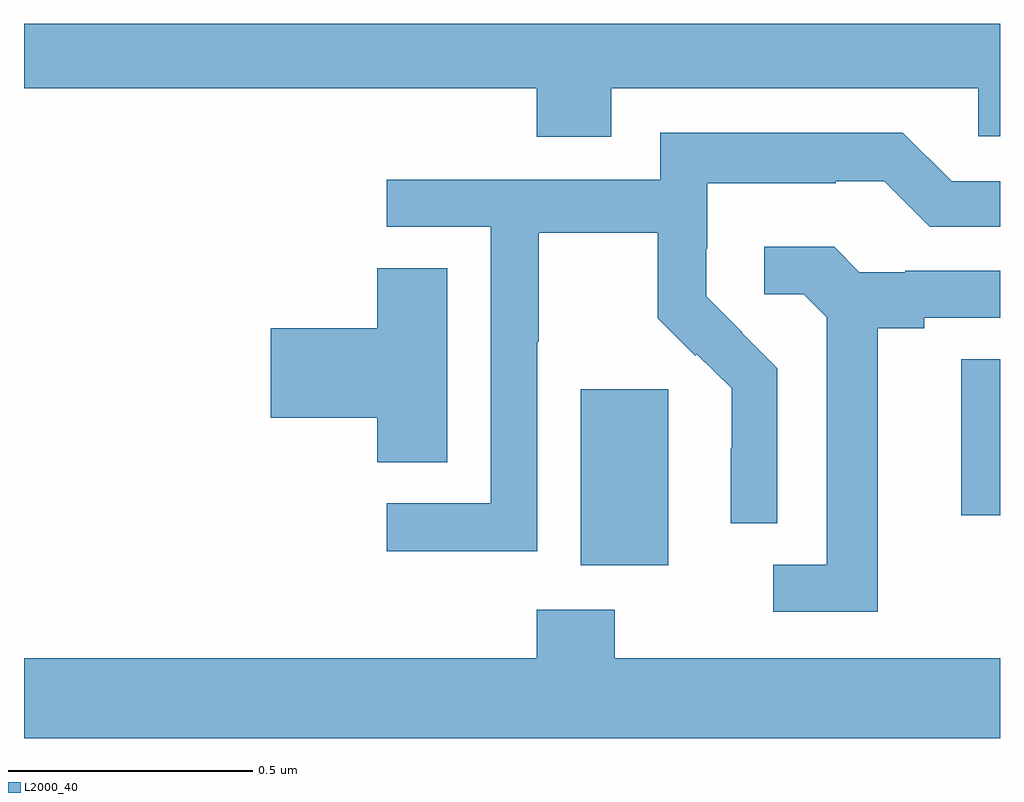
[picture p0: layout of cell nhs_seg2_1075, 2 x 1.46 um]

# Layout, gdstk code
import gdstk
lib = gdstk.Library(unit=1e-6, precision=1e-09)
def R(c, l, rs):  # rectangles x0, y0, x1, y1
    for r in rs: c.add(gdstk.rectangle(r[:2], r[2:], *l))
def P(c, l, *ps):  # polygons
    for p in ps: c.add(gdstk.Polygon(p, *l))
L2000_40 = (2000, 40)

nhs_seg2_1075 = lib.new_cell('nhs_seg2_1075')
R(nhs_seg2_1075, L2000_40, [(125.141,614.69,125.32,615.051), (125.921,614.793,126,615.113)])
P(nhs_seg2_1075, L2000_40, [(125.203,615.668),(125.955,615.668),(125.955,615.57),(126,615.57),(126,615.8),(124,615.8),(124,615.668),(125.051,615.668),(125.051,615.569),(125.203,615.569)],
  [(125.052,615.148),(125.055,615.148),(125.055,615.372),(125.299,615.372),(125.299,615.197),(125.376,615.12),(125.379,615.123),(125.45,615.053),(125.45,614.93),(125.448,614.93),(125.448,614.776),(125.544,614.776),(125.544,615.094),(125.471,615.167),(125.472,615.168),(125.398,615.242),(125.398,615.339),(125.4,615.339),(125.4,615.473),(125.663,615.473),(125.663,615.477),(125.763,615.477),(125.856,615.384),(126,615.384),(126,615.477),(125.901,615.477),(125.801,615.577),(125.304,615.577),(125.304,615.48),(124.743,615.48),(124.743,615.384),(124.956,615.384),(124.956,614.817),(124.743,614.817),(124.743,614.719),(125.052,614.719)],
  [(125.749,615.176),(125.845,615.176),(125.845,615.198),(126,615.198),(126,615.294),(125.806,615.294),(125.806,615.291),(125.712,615.291),(125.66,615.343),(125.517,615.343),(125.517,615.246),(125.598,615.246),(125.645,615.199),(125.645,614.691),(125.535,614.691),(125.535,614.595),(125.749,614.595)],
  [(124.867,615.299),(124.724,615.299),(124.724,615.176),(124.506,615.176),(124.506,614.993),(124.724,614.993),(124.724,614.902),(124.867,614.902)],
  [(126,614.5),(125.211,614.5),(125.211,614.599),(125.051,614.599),(125.051,614.5),(124,614.5),(124,614.336),(126,614.336)])

lib.write_gds('nhs_seg2_1075.gds')
